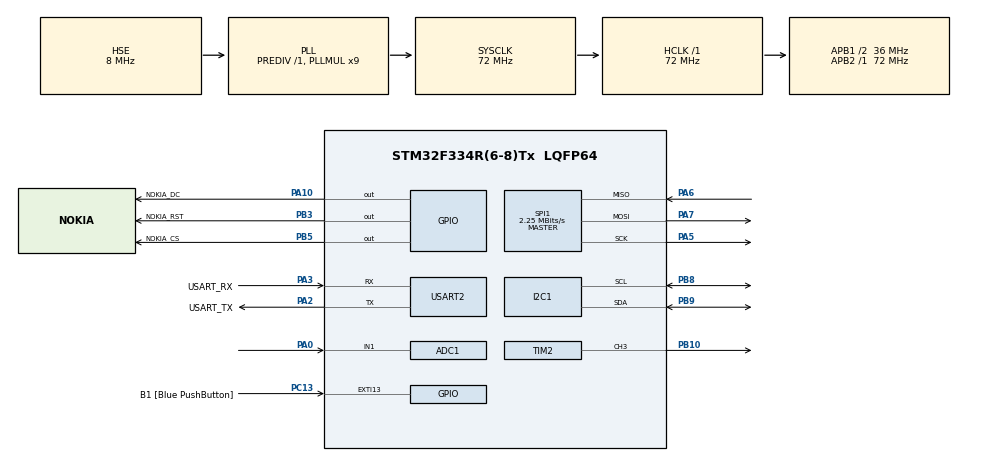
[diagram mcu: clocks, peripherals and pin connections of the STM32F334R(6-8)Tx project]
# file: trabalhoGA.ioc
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ADC1.Channel-0\#ChannelRegularConversion=ADC_CHANNEL_1
ADC1.ContinuousConvMode=DISABLE
ADC1.NbrOfConversionFlag=1
ADC1.Offset-0\#ChannelRegularConversion=0
ADC1.OffsetNumber-0\#ChannelRegularConversion=ADC_OFFSET_NONE
ADC1.Rank-0\#ChannelRegularConversion=1
ADC1.SamplingTime-0\#ChannelRegularConversion=ADC_SAMPLETIME_61CYCLES_5
ADC1.SubFamily=STM32F334x8
ADC1.master=1
I2C1.Timing=0x00201D2B
Mcu.Family=STM32F3
Mcu.Name=STM32F334R(6-8)Tx
Mcu.Package=LQFP64
NVIC.EXTI15_10_IRQn=true\:0\:0\:false\:false\:true\:true\:true\:true
NVIC.PriorityGroup=NVIC_PRIORITYGROUP_0
NVIC.TIM2_IRQn=true\:0\:0\:false\:false\:true\:true\:true\:true
PA0.Mode=IN1-Single-Ended
PA0.Signal=ADC1_IN1
PA10.GPIO_Label=NOKIA_DC
PA10.Signal=GPIO_Output
PA13.GPIO_Label=TMS
PA13.Mode=Serial_Wire
PA13.Signal=SYS_JTMS-SWDIO
PA14.GPIO_Label=TCK
PA14.Mode=Serial_Wire
PA14.Signal=SYS_JTCK-SWCLK
PA2.GPIO_Label=USART_TX
PA2.Mode=Asynchronous
PA2.Signal=USART2_TX
PA3.GPIO_Label=USART_RX
PA3.Mode=Asynchronous
PA3.Signal=USART2_RX
PA5.Mode=Full_Duplex_Master
PA5.Signal=SPI1_SCK
PA6.Mode=Full_Duplex_Master
PA6.Signal=SPI1_MISO
PA7.Mode=Full_Duplex_Master
PA7.Signal=SPI1_MOSI
PB10.Signal=S_TIM2_CH3
PB3.GPIO_Label=NOKIA_RST
PB3.Signal=GPIO_Output
PB5.GPIO_Label=NOKIA_CS
PB5.Signal=GPIO_Output
PB8.GPIO_Pu=GPIO_PULLUP
PB8.Mode=I2C
PB8.Signal=I2C1_SCL
PB9.GPIO_Pu=GPIO_PULLUP
PB9.Mode=I2C
PB9.Signal=I2C1_SDA
PC13.GPIO_Label=B1 [Blue PushButton]
PC13.GPIO_ModeDefaultEXTI=GPIO_MODE_IT_FALLING
PC13.Signal=GPXTI13
PC14\ /\ OSC32_IN.Mode=LSE-External-Oscillator
PC14\ /\ OSC32_IN.Signal=RCC_OSC32_IN
PC15\ /\ OSC32_OUT.GPIO_Label=RCC_OSC32_OUT
PC15\ /\ OSC32_OUT.Mode=LSE-External-Oscillator
PC15\ /\ OSC32_OUT.Signal=RCC_OSC32_OUT
PF0\ /\ OSC_IN.Mode=HSE-External-Clock-Source
PF0\ /\ OSC_IN.Signal=RCC_OSC_IN
PF1\ /\ OSC_OUT.Signal=RCC_OSC_OUT
ProjectManager.HeapSize=0x200
ProjectManager.StackSize=0x400
ProjectManager.TargetToolchain=STM32CubeIDE
RCC.AHBFreq_Value=72000000
RCC.APB1CLKDivider=RCC_HCLK_DIV2
RCC.APB1Freq_Value=36000000
RCC.APB1TimFreq_Value=72000000
RCC.APB2Freq_Value=72000000
RCC.APB2TimFreq_Value=72000000
RCC.CortexFreq_Value=72000000
RCC.FLatency-AdvancedSettings=FLASH_LATENCY_2
RCC.HCLKFreq_Value=72000000
RCC.HSE_VALUE=8000000
RCC.HSI_VALUE=8000000
RCC.PLLMUL=RCC_PLL_MUL9
RCC.PLLSourceVirtual=RCC_PLLSOURCE_HSE
RCC.SYSCLKFreq_VALUE=72000000
RCC.SYSCLKSourceVirtual=RCC_SYSCLKSOURCE_PLLCLK
SH.S_TIM2_CH3.0=TIM2_CH3,PWM Generation3 CH3
SPI1.BaudRatePrescaler=SPI_BAUDRATEPRESCALER_32
SPI1.CalculateBaudRate=2.25 MBits/s
SPI1.DataSize=SPI_DATASIZE_8BIT
SPI1.Direction=SPI_DIRECTION_2LINES
SPI1.Mode=SPI_MODE_MASTER
SPI1.VirtualType=VM_MASTER
TIM2.Channel-PWM\ Generation3\ CH3=TIM_CHANNEL_3
TIM2.Period=999
TIM2.Prescaler=71
USART2.VirtualMode-Asynchronous=VM_ASYNC
VP_TIM2_VS_ClockSourceINT.Mode=Internal
board=NUCLEO-F334R8

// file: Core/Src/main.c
/* USER CODE BEGIN Header */
/**
  ******************************************************************************
  * @file           : main.c
  * @brief          : Main program body
  ******************************************************************************
  * @attention
  *
  * Copyright (c) 2026 STMicroelectronics.
  * All rights reserved.
  *
  * This software is licensed under terms that can be found in the LICENSE file
  * in the root directory of this software component.
  * If no LICENSE file comes with this software, it is provided AS-IS.
  *
  ******************************************************************************
  */
/* USER CODE END Header */
#include "main.h"
#include "adc.h"
#include "i2c.h"
#include "spi.h"
#include "tim.h"
#include "usart.h"
#include "gpio.h"

/* USER CODE BEGIN Includes */
#include "bmp280.h"
#include "nokia5110.h"
#include <stdio.h>
/* USER CODE END Includes */

/* USER CODE BEGIN PTD */
typedef enum {
    STATE_INIT = 0,
    STATE_CALIBRATE_REF,
    STATE_MEASURE,
    STATE_DISPLAY,
    STATE_ERROR
} SystemState_t;
/* USER CODE END PTD */

/* USER CODE BEGIN PV */
#define DEBOUNCE_MS 200
uint32_t last_button_tick = 0;
BMP280_HandleTypeDef bmp280;
SystemState_t current_state = STATE_INIT;
SystemState_t previous_state = STATE_INIT;

volatile uint8_t flag_button = 0;

#define PWM_MAX_DUTY 999

float temperatura_c = 0.0f;
float pressao_pa    = 0.0f;
float altitude_m    = 0.0f;
uint16_t adc_raw     = 0;

/* ---- Filtro de suavizacao do ruído natural no sensor e do ADC. pode dar um delay para reagir às mudanças */
#define EMA_ALPHA 0.2f
float pressao_filtrada = 0.0f;
uint8_t pressao_filtro_pronto = 0;
uint16_t adc_filtrado = 0;
uint8_t adc_filtro_pronto = 0;

uint32_t led_last_toggle_tick = 0;
uint8_t  led_blink_state = 0;

uint32_t last_sample_tick = 0;

void SystemClock_Config(void);

/* USER CODE BEGIN 0 */

void HAL_GPIO_EXTI_Callback(uint16_t GPIO_Pin)
{
    if (GPIO_Pin == B1_Pin) {
    	uint32_t now = HAL_GetTick();
    	if (now - last_button_tick > DEBOUNCE_MS) {
			last_button_tick = now;
			flag_button = 1;
		}
    }
}

static uint16_t Read_Potentiometer()
{
    uint16_t valor = 0;
    HAL_ADC_Start(&hadc1);
    /* espera a conversão terminar (10ms) */
    if (HAL_ADC_PollForConversion(&hadc1, 10) == HAL_OK) {
        valor = HAL_ADC_GetValue(&hadc1);
    }
    HAL_ADC_Stop(&hadc1);
    return valor;
}

static void Update_LED_PWM(SystemState_t state)
{
    uint32_t now = HAL_GetTick();
    uint32_t blink_period;
    uint32_t duty;

    switch (state) {
        case STATE_CALIBRATE_REF:
            blink_period = 500;
            break;
        case STATE_ERROR:
            blink_period = 100;
            break;

        case STATE_MEASURE:
        case STATE_DISPLAY:
            /* Mapeia o ADC para 0-PWM_MAX_DUTY. */
            duty = ((uint32_t)adc_raw * PWM_MAX_DUTY) / 4095;
            __HAL_TIM_SET_COMPARE(&htim2, TIM_CHANNEL_3, duty);
            return;

        default:
            __HAL_TIM_SET_COMPARE(&htim2, TIM_CHANNEL_3, 0);
            return;
    }

    /* Logica de piscar */
    if (now - led_last_toggle_tick >= blink_period) {
        led_last_toggle_tick = now;
        led_blink_state = !led_blink_state;
        __HAL_TIM_SET_COMPARE(&htim2, TIM_CHANNEL_3, led_blink_state ? PWM_MAX_DUTY : 0);
    }
}

static void Show_Status_Message(const char *linha1, const char *linha2)
{
    nokia5110_clear();
    nokia5110_goto_xy(6, 2);
    nokia5110_puts(linha1);
    if (linha2 != NULL) {
        nokia5110_goto_xy(6, 3);
        nokia5110_puts(linha2);
    }
    nokia5110_render();
}

static void Update_Display(void)
{
    char linha[17]; /* 84px de largura  */

    nokia5110_clear();

    nokia5110_goto_xy(0, 0);
    snprintf(linha, sizeof(linha), "Temp: %.1fC", temperatura_c);
    nokia5110_puts(linha);

    nokia5110_goto_xy(0, 1);
    snprintf(linha, sizeof(linha), "Pres: %.0fPa", pressao_filtrada);
    nokia5110_puts(linha);

    nokia5110_goto_xy(0, 2);
    snprintf(linha, sizeof(linha), "Alt: %.1fm", altitude_m);
    nokia5110_puts(linha);

    nokia5110_goto_xy(0, 3);
    snprintf(linha, sizeof(linha), "Pot: %u", adc_filtrado);
    nokia5110_puts(linha);

    nokia5110_render();
}
/* USER CODE END 0 */

int main(void)
{

  /* MCU Configuration--------------------------------------------------------*/

  /* Reset of all peripherals, Initializes the Flash interface and the Systick. */
  HAL_Init();

  /* Configure the system clock */
  SystemClock_Config();

  /* Initialize all configured peripherals */
  MX_GPIO_Init();
  MX_USART2_UART_Init();
  MX_ADC1_Init();
  MX_I2C1_Init();
  MX_SPI1_Init();
  MX_TIM2_Init();
  /* USER CODE BEGIN 2 */

  HAL_TIM_PWM_Start(&htim2, TIM_CHANNEL_3);

  current_state = STATE_CALIBRATE_REF;

  if (BMP280_Init(&bmp280, &hi2c1) != HAL_OK) {
      current_state = STATE_ERROR;
  }

  nokia5110_init(&hspi1, 0x38);

  /* USER CODE END 2 */

  /* Infinite loop */
  /* USER CODE BEGIN WHILE */
  while (1)
  {
    adc_raw = Read_Potentiometer();

    /* Atualiza a versao filtrada do ADC a cada iteracao */
    if (!adc_filtro_pronto) {
        adc_filtrado = adc_raw;
        adc_filtro_pronto = 1;
    } else {
        adc_filtrado = (uint16_t)(EMA_ALPHA * adc_raw + (1.0f - EMA_ALPHA) * adc_filtrado);
    }

    Update_LED_PWM(current_state);

	if (current_state != previous_state) {
		previous_state = current_state;

		if (current_state == STATE_CALIBRATE_REF) {
			Show_Status_Message("Aperte o", "botao B1");
		} else if (current_state == STATE_ERROR) {
			Show_Status_Message("ERRO:", "sensor BMP280");
		}
	}

    switch (current_state)
    {
        case STATE_CALIBRATE_REF:
            if (flag_button) {
                flag_button = 0;
                float t, p;
                if (BMP280_ReadData(&bmp280, &t, &p) == HAL_OK) {
                    BMP280_SetReferencePressure(&bmp280, p);
                    current_state = STATE_MEASURE;
                } else {
                    current_state = STATE_ERROR;
                }
            }
            break;

        case STATE_MEASURE:
        	if (HAL_GetTick() - last_sample_tick >= 1000) {
				last_sample_tick = HAL_GetTick();

				if (BMP280_ReadData(&bmp280, &temperatura_c, &pressao_pa) == HAL_OK) {

					/* Filtro de suavizacao (EMA) na pressao. */
					if (!pressao_filtro_pronto) {
					    pressao_filtrada = pressao_pa;
					    pressao_filtro_pronto = 1;
					} else {
					    pressao_filtrada = EMA_ALPHA * pressao_pa + (1.0f - EMA_ALPHA) * pressao_filtrada;
					}

					altitude_m = BMP280_CalculateAltitude(&bmp280, pressao_filtrada);
					current_state = STATE_DISPLAY;
				} else {
					current_state = STATE_ERROR;
				}
			}
			if (flag_button) {
				flag_button = 0;
				current_state = STATE_CALIBRATE_REF;
			}
			break;

        case STATE_DISPLAY:
            Update_Display();
            current_state = STATE_MEASURE;
            break;

        case STATE_ERROR:
            if (HAL_GetTick() - last_sample_tick >= 1000) {
                last_sample_tick = HAL_GetTick();
                if (BMP280_Init(&bmp280, &hi2c1) == HAL_OK) {
                    current_state = STATE_CALIBRATE_REF;
                }
            }
            break;

        default:
            current_state = STATE_CALIBRATE_REF;
            break;
    }
    /* USER CODE END WHILE */

  }
}

void SystemClock_Config(void)
{
	RCC_OscInitTypeDef RCC_OscInitStruct = {0};
	RCC_ClkInitTypeDef RCC_ClkInitStruct = {0};
	RCC_PeriphCLKInitTypeDef PeriphClkInit = {0};

	/** Initializes the RCC Oscillators according to the specified parameters
	* in the RCC_OscInitTypeDef structure.
	*/
	RCC_OscInitStruct.OscillatorType = RCC_OSCILLATORTYPE_HSI|RCC_OSCILLATORTYPE_HSE;
	RCC_OscInitStruct.HSEState = RCC_HSE_BYPASS;
	RCC_OscInitStruct.HSEPredivValue = RCC_HSE_PREDIV_DIV1;
	RCC_OscInitStruct.HSIState = RCC_HSI_ON;
	RCC_OscInitStruct.HSICalibrationValue = RCC_HSICALIBRATION_DEFAULT;
	RCC_OscInitStruct.PLL.PLLState = RCC_PLL_ON;
	RCC_OscInitStruct.PLL.PLLSource = RCC_PLLSOURCE_HSE;
	RCC_OscInitStruct.PLL.PLLMUL = RCC_PLL_MUL9;
	if (HAL_RCC_OscConfig(&RCC_OscInitStruct) != HAL_OK)
	{
	Error_Handler();
	}

	/** Initializes the CPU, AHB and APB buses clocks
	*/
	RCC_ClkInitStruct.ClockType = RCC_CLOCKTYPE_HCLK|RCC_CLOCKTYPE_SYSCLK
							  |RCC_CLOCKTYPE_PCLK1|RCC_CLOCKTYPE_PCLK2;
	RCC_ClkInitStruct.SYSCLKSource = RCC_SYSCLKSOURCE_PLLCLK;
	RCC_ClkInitStruct.AHBCLKDivider = RCC_SYSCLK_DIV1;
	RCC_ClkInitStruct.APB1CLKDivider = RCC_HCLK_DIV2;
	RCC_ClkInitStruct.APB2CLKDivider = RCC_HCLK_DIV1;

	if (HAL_RCC_ClockConfig(&RCC_ClkInitStruct, FLASH_LATENCY_2) != HAL_OK)
	{
	Error_Handler();
	}
	PeriphClkInit.PeriphClockSelection = RCC_PERIPHCLK_I2C1|RCC_PERIPHCLK_ADC12;
	PeriphClkInit.Adc12ClockSelection = RCC_ADC12PLLCLK_DIV1;
	PeriphClkInit.I2c1ClockSelection = RCC_I2C1CLKSOURCE_HSI;
	if (HAL_RCCEx_PeriphCLKConfig(&PeriphClkInit) != HAL_OK)
	{
	Error_Handler();
	}
}

void Error_Handler(void)
{
  __disable_irq();
  while (1)
  {
  }
}
